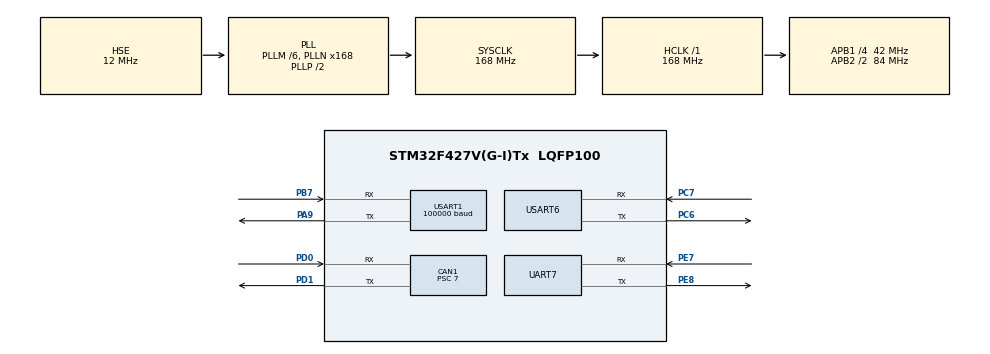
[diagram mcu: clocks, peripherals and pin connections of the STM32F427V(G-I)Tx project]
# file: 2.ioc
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CAN1.ABOM=ENABLE
CAN1.AWUM=ENABLE
CAN1.BS1=CAN_BS1_3TQ
CAN1.BS2=CAN_BS2_2TQ
CAN1.CalculateTimeQuantum=166.66666666666669
CAN1.NART=ENABLE
CAN1.Prescaler=7
Dma.Request0=USART6_TX
Dma.Request1=USART6_RX
Dma.Request2=USART1_RX
Dma.USART1_RX.2.Direction=DMA_PERIPH_TO_MEMORY
Dma.USART1_RX.2.FIFOMode=DMA_FIFOMODE_DISABLE
Dma.USART1_RX.2.Instance=DMA2_Stream2
Dma.USART1_RX.2.MemDataAlignment=DMA_MDATAALIGN_BYTE
Dma.USART1_RX.2.MemInc=DMA_MINC_ENABLE
Dma.USART1_RX.2.Mode=DMA_CIRCULAR
Dma.USART1_RX.2.PeriphDataAlignment=DMA_PDATAALIGN_BYTE
Dma.USART1_RX.2.PeriphInc=DMA_PINC_DISABLE
Dma.USART1_RX.2.Priority=DMA_PRIORITY_HIGH
Dma.USART6_RX.1.Direction=DMA_PERIPH_TO_MEMORY
Dma.USART6_RX.1.FIFOMode=DMA_FIFOMODE_DISABLE
Dma.USART6_RX.1.Instance=DMA2_Stream1
Dma.USART6_RX.1.MemDataAlignment=DMA_MDATAALIGN_BYTE
Dma.USART6_RX.1.MemInc=DMA_MINC_ENABLE
Dma.USART6_RX.1.Mode=DMA_NORMAL
Dma.USART6_RX.1.PeriphDataAlignment=DMA_PDATAALIGN_BYTE
Dma.USART6_RX.1.PeriphInc=DMA_PINC_DISABLE
Dma.USART6_RX.1.Priority=DMA_PRIORITY_HIGH
Dma.USART6_TX.0.Direction=DMA_MEMORY_TO_PERIPH
Dma.USART6_TX.0.FIFOMode=DMA_FIFOMODE_DISABLE
Dma.USART6_TX.0.Instance=DMA2_Stream6
Dma.USART6_TX.0.MemDataAlignment=DMA_MDATAALIGN_BYTE
Dma.USART6_TX.0.MemInc=DMA_MINC_ENABLE
Dma.USART6_TX.0.Mode=DMA_NORMAL
Dma.USART6_TX.0.PeriphDataAlignment=DMA_PDATAALIGN_BYTE
Dma.USART6_TX.0.PeriphInc=DMA_PINC_DISABLE
Dma.USART6_TX.0.Priority=DMA_PRIORITY_HIGH
Mcu.Family=STM32F4
Mcu.Name=STM32F427V(G-I)Tx
Mcu.Package=LQFP100
NVIC.CAN1_RX0_IRQn=true\:6\:0\:true\:false\:true\:true\:true
NVIC.DMA2_Stream1_IRQn=true\:0\:0\:false\:false\:true\:false\:true
NVIC.DMA2_Stream2_IRQn=true\:0\:0\:false\:false\:true\:false\:true
NVIC.DMA2_Stream6_IRQn=true\:0\:0\:false\:false\:true\:false\:true
NVIC.PriorityGroup=NVIC_PRIORITYGROUP_4
NVIC.TIM6_DAC_IRQn=true\:0\:0\:false\:false\:true\:false\:true
NVIC.TIM7_IRQn=true\:7\:0\:true\:false\:true\:true\:true
NVIC.TimeBase=TIM6_DAC_IRQn
NVIC.TimeBaseIP=TIM6
NVIC.USART1_IRQn=true\:0\:0\:false\:false\:true\:true\:true
NVIC.USART6_IRQn=true\:0\:0\:false\:false\:true\:true\:true
PA13.Mode=Serial_Wire
PA13.Signal=SYS_JTMS-SWDIO
PA14.Mode=Serial_Wire
PA14.Signal=SYS_JTCK-SWCLK
PA9.Mode=Asynchronous
PA9.Signal=USART1_TX
PB7.Mode=Asynchronous
PB7.Signal=USART1_RX
PC6.Mode=Asynchronous
PC6.Signal=USART6_TX
PC7.Mode=Asynchronous
PC7.Signal=USART6_RX
PD0.Mode=Master
PD0.Signal=CAN1_RX
PD1.Mode=Master
PD1.Signal=CAN1_TX
PE7.Mode=Asynchronous
PE7.Signal=UART7_RX
PE8.Mode=Asynchronous
PE8.Signal=UART7_TX
PH0/OSC_IN.Mode=HSE-External-Oscillator
PH0/OSC_IN.Signal=RCC_OSC_IN
PH1/OSC_OUT.Mode=HSE-External-Oscillator
PH1/OSC_OUT.Signal=RCC_OSC_OUT
ProjectManager.HeapSize=0x200
ProjectManager.StackSize=0x400
ProjectManager.TargetToolchain=MDK-ARM V5.27
RCC.48MHZClocksFreq_Value=84000000
RCC.AHBFreq_Value=168000000
RCC.APB1CLKDivider=RCC_HCLK_DIV4
RCC.APB1Freq_Value=42000000
RCC.APB1TimFreq_Value=84000000
RCC.APB2CLKDivider=RCC_HCLK_DIV2
RCC.APB2Freq_Value=84000000
RCC.APB2TimFreq_Value=168000000
RCC.CortexFreq_Value=168000000
RCC.HCLKFreq_Value=168000000
RCC.HSE_VALUE=12000000
RCC.HSI_VALUE=16000000
RCC.LSE_VALUE=32768
RCC.PLLM=6
RCC.PLLN=168
RCC.PLLSourceVirtual=RCC_PLLSOURCE_HSE
RCC.SYSCLKFreq_VALUE=168000000
RCC.SYSCLKSource=RCC_SYSCLKSOURCE_PLLCLK
RCC.VCOOutputFreq_Value=336000000
TIM7.AutoReloadPreload=TIM_AUTORELOAD_PRELOAD_ENABLE
TIM7.Period=999
TIM7.Prescaler=83
UART7.VirtualMode=Asynchronous
USART1.BaudRate=100000
USART1.VirtualMode=VM_ASYNC
USART6.VirtualMode=VM_ASYNC
VP_SYS_VS_tim6.Mode=TIM6
VP_TIM7_VS_ClockSourceINT.Mode=Enable_Timer
board=custom

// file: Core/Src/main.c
/* USER CODE BEGIN Header */
/**
  ******************************************************************************
  * @file           : main.c
  * @brief          : Main program body
  ******************************************************************************
  * @attention
  *
  * <h2><center>&copy; Copyright (c) 2021 STMicroelectronics.
  * All rights reserved.</center></h2>
  *
  * This software component is licensed by ST under BSD 3-Clause license,
  * the "License"; You may not use this file except in compliance with the
  * License. You may obtain a copy of the License at:
  *                        opensource.org/licenses/BSD-3-Clause
  *
  ******************************************************************************
  */
/* USER CODE END Header */
#include "main.h"
#include "can.h"
#include "dma.h"
#include "tim.h"
#include "usart.h"
#include "gpio.h"

/* USER CODE BEGIN Includes */
#include "bsp_can.h"
#include "Debug_DataScope.h"
#include "M2006_Motor.h"
#include "PID.h"
#include "control.h"
#include "GM6020_Motor.h"
#include "DR16_RECIVE.h"
/* USER CODE END Includes */

void SystemClock_Config(void);

/* USER CODE BEGIN 0 */
float f32; //需要调试的全局变量
int err_int;//需要调试的全局变量
int can1zdcs=2;
uint16_t jd3=0;
uint16_t last_ang=0;
int last_jd3=0;
int sudu3=0;
int zhuanju3=0;
int turnCount3=0;//圈数
int last_turnCount3=0;//上一次圈数
int mbsudu3=0;
int minibalencedebug=1;//是否开启minibalence_debug
int mubiaosudu3=0;//目标速度3
float speed_kp=0;//2.7不会超调太多
float speed_ki=0;
float speed_kd=0;
int jfxf=0;//积分限幅
int PID_Ki_out=0;
int PID_ERR=0;
int shijieshij=0;
int zhenlv=0;//帧率
int chazhi=0;
int16_t my_speed=0;//sudu
uint16_t my_angle=0;//jd
int16_t my_current=0;//
int time_every1ms=0;
int time_every1s=0;
/* USER CODE END 0 */

int main(void)
{

  /* MCU Configuration--------------------------------------------------------*/

  /* Reset of all peripherals, Initializes the Flash interface and the Systick. */
  HAL_Init();

  /* Configure the system clock */
  SystemClock_Config();

  /* Initialize all configured peripherals */
  MX_GPIO_Init();
  MX_DMA_Init();
  MX_USART6_UART_Init();
  MX_UART7_Init();
  MX_CAN1_Init();
  MX_TIM7_Init();
  MX_USART1_UART_Init();
  /* USER CODE BEGIN 2 */
//	Debug_RegisterVar(&f32,"f32",DVar_Float); //注册调试变量	err_int
		Debug_RegisterVar(&err_int,"err_int",DVar_Int8);
	__HAL_UART_ENABLE_IT(&huart6,UART_IT_RXNE); //开启RXNE中断
	__HAL_UART_ENABLE_IT(&huart6,UART_IT_IDLE); //开启IDLE中断

//	  my_can_filter_init_recv_all(&hcan1);     //配置CAN过滤器
//  HAL_CAN_Receive_IT(&hcan1, CAN_FIFO0);   //启动CAN接收中断
	CAN1_IT_Init();

    /*使能定时器7中断*/
    HAL_TIM_Base_Start_IT(&htim7);

	usart1_dr16_init();

  /* USER CODE END 2 */

  /* Infinite loop */
  /* USER CODE BEGIN WHILE */
  	  PositionPID_paraReset(&M2006_A.pid_speed, speed_kp, speed_ki, speed_kd, 10000, jfxf);//1.2 0 0.3
  	  PositionPID_paraReset(&M2006_B.pid_speed, speed_kp+1, speed_ki, speed_kd, 10000, jfxf);//1.2 0 0.3
  	  PositionPID_paraReset(&M2006_C.pid_speed, speed_kp, speed_ki+2, speed_kd, 10000, jfxf);//1.2 0 0.3
  	  PositionPID_paraReset(&M2006_D.pid_speed, speed_kp, speed_ki, speed_kd+3, 10000, jfxf);//1.2 0 0.3

//	  PositionPID_paraReset(&M2006_A.pid_angle, 0.3f, 0.0f, 0.0f, 3000, 2000);//0.12
  	 PositionPID_paraReset(&GM_6020_angle, speed_kp, speed_ki, speed_kd,4000, jfxf);//1.2 0 0.3
	 PositionPID_paraReset(&GM_6020_speed, 0, 8, 0, 29000, 29000);//1.2 0 0.3
								//			5.8  0  0  29000 29000
	  HAL_Delay(500);

  while (1)
  {
    /* USER CODE END WHILE */

    /* USER CODE BEGIN 3 */
	  if(minibalencedebug==1)
	  {
//	  		Debug_addData(can1zdcs,1);//进入中断次数
//		  Debug_addData(M2006_Reload.outCurrent,1);//发出的指令
//	  		Debug_addData(can1zdcs,2);//角度
//	  		Debug_addData(max_angle,3);//速度
//	  		Debug_addData(zhuanju3,4);//
//		  Debug_addData(mubiaosudu3,5);//目标速度
//		   Debug_addData(PID_Ki_out,6); //积分累计误差
//		   Debug_addData(PID_ERR,7); //积分累计误差
		  		  Debug_addData(my_6020array[0].realSpeed,1);//速度
	  		Debug_addData(mubiaosudu3,2);//角度  外环入口值
	  		Debug_addData(shijieshij,3);//转矩
// 	  		Debug_addData(my_6020array[1].totalAngle,4);//
// 	  		Debug_addData(can1zdcs,5);//

//	  		Debug_show(3);
	  }
	   NM_swj();

	  HAL_Delay(1);
	  NM_swj2();
	  	  HAL_Delay(1);

//	  HAL_Delay(1000);
//	  can1zdcs=0;
//	  shijieshij++;//用hal——delay完成的秒计时
//	  zhenlv=can1zdcs/shijieshij;//can接收秒帧率
	  #if 0
	  //位置式PID
	  for(int i=0;i<40;i++)
	  {
		  	    	  PositionPID_paraReset(&M2006_Reload.pid_speed, speed_kp, speed_ki, speed_kd, 10000, jfxf);//1.2 0 0.3

	  	  	      M2006_Reload.outCurrent =
	  Position_PID(&M2006_Reload.pid_speed,
	  mubiaosudu3,sudu3);
	  //目标值    测量值
	  M2006_setCurrent(0,0,M2006_Reload.outCurrent,0);
	  ////////
	  		HAL_Delay(1);

	  }

	  ///////位置式PID+CANSEED
//	  	      M2006_Reload.outCurrent =
//	  Position_PID(&M2006_Reload.pid_speed,
//	  mubiaosudu3,sudu3);
//	  //目标值    测量值
//	  M2006_setCurrent(0,0,M2006_Reload.outCurrent,0);
	  ////////
//	  		HAL_Delay(10);
//	    	  PositionPID_paraReset(&M2006_Reload.pid_speed, speed_kp, speed_ki, speed_kd, 10000, jfxf);//1.2 0 0.3
//	  ///////位置式PID+CANSEED
//	  	      M2006_Reload.outCurrent =
//	  Position_PID(&M2006_Reload.pid_speed,
//	  mubiaosudu3,sudu3);
//	  //目标值    测量值
//	  M2006_setCurrent(0,0,M2006_Reload.outCurrent,0);
//	  ////////
//	  		HAL_Delay(10);
//	  ///////位置式PID+CANSEED
//	  	      M2006_Reload.outCurrent =
//	  Position_PID(&M2006_Reload.pid_speed,
//	  mubiaosudu3,sudu3);
//	  //目标值    测量值
//	  M2006_setCurrent(0,0,M2006_Reload.outCurrent,0);
//	  ////////
//	  		HAL_Delay(10);
//	  ///////位置式PID+CANSEED
//	  	      M2006_Reload.outCurrent =
//	  Position_PID(&M2006_Reload.pid_speed,
//	  mubiaosudu3,sudu3);
//	  //目标值    测量值
//	  M2006_setCurrent(0,0,M2006_Reload.outCurrent,0);
//	  ////////
//	  		HAL_Delay(10);
			#endif

		#if 0

		IncrementalPID_setPara(&M2006_Reload.pid_speed_me, speed_kp, speed_ki, speed_kd);
			  	      M2006_Reload.outCurrent =
	  Incremental_PID(&M2006_Reload.pid_speed_me,
	  mubiaosudu3,sudu3);
	  //目标值    测量值
	  M2006_setCurrent(0,0,M2006_Reload.outCurrent,0);
			  		HAL_Delay(10);
	  Incremental_PID(&M2006_Reload.pid_speed_me,
	  mubiaosudu3,sudu3);
	  //目标值    测量值
	  M2006_setCurrent(0,0,M2006_Reload.outCurrent,0);
	  		HAL_Delay(10);
	  Incremental_PID(&M2006_Reload.pid_speed_me,
	  mubiaosudu3,sudu3);
	  //目标值    测量值
	  M2006_setCurrent(0,0,M2006_Reload.outCurrent,0);
	  		HAL_Delay(10);
	  Incremental_PID(&M2006_Reload.pid_speed_me,
	  mubiaosudu3,sudu3);
	  //目标值    测量值
	  M2006_setCurrent(0,0,M2006_Reload.outCurrent,0);
	  		HAL_Delay(10);

		#endif
  }
  /* USER CODE END 3 */
}

void SystemClock_Config(void)
{
  RCC_OscInitTypeDef RCC_OscInitStruct = {0};
  RCC_ClkInitTypeDef RCC_ClkInitStruct = {0};

  /** Configure the main internal regulator output voltage
  */
  __HAL_RCC_PWR_CLK_ENABLE();
  __HAL_PWR_VOLTAGESCALING_CONFIG(PWR_REGULATOR_VOLTAGE_SCALE1);
  /** Initializes the RCC Oscillators according to the specified parameters
  * in the RCC_OscInitTypeDef structure.
  */
  RCC_OscInitStruct.OscillatorType = RCC_OSCILLATORTYPE_HSE;
  RCC_OscInitStruct.HSEState = RCC_HSE_ON;
  RCC_OscInitStruct.PLL.PLLState = RCC_PLL_ON;
  RCC_OscInitStruct.PLL.PLLSource = RCC_PLLSOURCE_HSE;
  RCC_OscInitStruct.PLL.PLLM = 6;
  RCC_OscInitStruct.PLL.PLLN = 168;
  RCC_OscInitStruct.PLL.PLLP = RCC_PLLP_DIV2;
  RCC_OscInitStruct.PLL.PLLQ = 4;
  if (HAL_RCC_OscConfig(&RCC_OscInitStruct) != HAL_OK)
  {
    Error_Handler();
  }
  /** Initializes the CPU, AHB and APB buses clocks
  */
  RCC_ClkInitStruct.ClockType = RCC_CLOCKTYPE_HCLK|RCC_CLOCKTYPE_SYSCLK
                              |RCC_CLOCKTYPE_PCLK1|RCC_CLOCKTYPE_PCLK2;
  RCC_ClkInitStruct.SYSCLKSource = RCC_SYSCLKSOURCE_PLLCLK;
  RCC_ClkInitStruct.AHBCLKDivider = RCC_SYSCLK_DIV1;
  RCC_ClkInitStruct.APB1CLKDivider = RCC_HCLK_DIV4;
  RCC_ClkInitStruct.APB2CLKDivider = RCC_HCLK_DIV2;

  if (HAL_RCC_ClockConfig(&RCC_ClkInitStruct, FLASH_LATENCY_5) != HAL_OK)
  {
    Error_Handler();
  }
}

void HAL_TIM_PeriodElapsedCallback(TIM_HandleTypeDef *htim)
{
  if (htim->Instance == TIM6) {
    HAL_IncTick();
  }
}

void Error_Handler(void)
{
}

/************************ (C) COPYRIGHT STMicroelectronics *****END OF FILE****/
